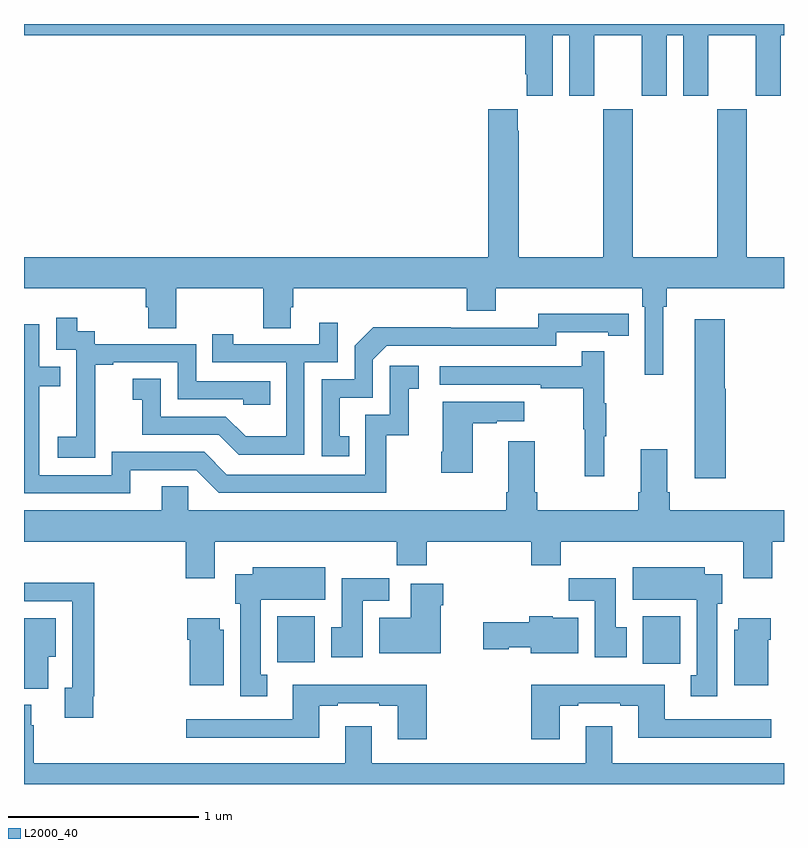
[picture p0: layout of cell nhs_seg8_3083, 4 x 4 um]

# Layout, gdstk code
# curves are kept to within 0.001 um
import gdstk
lib = gdstk.Library(unit=1e-6, precision=1e-09)
def R(c, l, rs):  # rectangles x0, y0, x1, y1
    for r in rs: c.add(gdstk.rectangle(r[:2], r[2:], *l))
def P(c, l, *ps):  # polygons
    for p in ps: c.add(gdstk.Polygon(p, *l))
L2000_40 = (2000, 40)

nhs_seg8_3083 = lib.new_cell('nhs_seg8_3083')
R(nhs_seg8_3083, L2000_40, [(306.257,1106.532,306.453,1106.782), (304.334,1106.54,304.531,1106.782)])
P(nhs_seg8_3083, L2000_40, [(305.782,1109.84),(305.87,1109.84),(305.87,1109.523),(306.001,1109.523),(306.001,1109.84),(306.251,1109.84),(306.251,1109.523),(306.382,1109.523),(306.382,1109.84),(306.47,1109.84),(306.47,1109.523),(306.601,1109.523),(306.601,1109.84),(306.851,1109.84),(306.851,1109.523),(306.982,1109.523),(306.982,1109.84),(307,1109.84),(307,1109.9),(303,1109.9),(303,1109.84),(305.639,1109.84),(305.639,1109.635),(305.645,1109.635),(305.645,1109.523),(305.782,1109.523)],
  [(306.364,1108.412),(306.383,1108.412),(306.383,1108.508),(307,1108.508),(307,1108.672),(306.804,1108.672),(306.804,1109.452),(306.649,1109.452),(306.649,1108.672),(306.204,1108.672),(306.204,1109.452),(306.049,1109.452),(306.049,1108.672),(305.604,1108.672),(305.604,1109.339),(305.599,1109.339),(305.599,1109.452),(305.444,1109.452),(305.444,1108.672),(303,1108.672),(303,1108.508),(303.641,1108.508),(303.641,1108.41),(303.653,1108.41),(303.653,1108.3),(303.801,1108.3),(303.801,1108.508),(304.258,1108.508),(304.258,1108.3),(304.405,1108.3),(304.405,1108.41),(304.418,1108.41),(304.418,1108.508),(305.33,1108.508),(305.33,1108.391),(305.482,1108.391),(305.482,1108.508),(306.254,1108.508),(306.254,1108.412),(306.267,1108.412),(306.267,1108.053),(306.364,1108.053)],
  [(304.712,1107.729),(304.663,1107.729),(304.663,1107.933),(304.836,1107.933),(304.836,1108.134),(304.908,1108.206),(305.802,1108.206),(305.802,1108.278),(306.074,1108.278),(306.074,1108.258),(306.182,1108.258),(306.182,1108.374),(305.706,1108.375),(305.706,1108.302),(305.246,1108.302),(305.246,1108.304),(304.838,1108.304),(304.74,1108.206),(304.74,1108.029),(304.566,1108.029),(304.566,1107.624),(304.712,1107.624)],
  [(303.375,1107.823),(303.374,1107.823),(303.374,1108.107),(303.469,1108.107),(303.469,1108.119),(303.81,1108.119),(303.81,1107.924),(304.155,1107.924),(304.155,1107.897),(304.295,1107.897),(304.295,1108.02),(303.906,1108.02),(303.906,1108.215),(303.372,1108.215),(303.372,1108.284),(303.28,1108.284),(303.28,1108.354),(303.171,1108.354),(303.171,1108.185),(303.276,1108.185),(303.276,1107.956),(303.275,1107.956),(303.275,1107.727),(303.177,1107.727),(303.177,1107.617),(303.375,1107.617)],
  [(306.694,1107.981),(306.689,1107.981),(306.689,1108.345),(306.53,1108.345),(306.53,1107.51),(306.694,1107.51)],
  [(304.476,1108.119),(304.65,1108.119),(304.65,1108.327),(304.553,1108.327),(304.553,1108.215),(304.102,1108.215),(304.102,1108.267),(303.991,1108.267),(303.991,1108.119),(304.38,1108.119),(304.38,1107.73),(304.166,1107.73),(304.062,1107.834),(303.72,1107.834),(303.72,1108.033),(303.573,1108.033),(303.573,1107.923),(303.622,1107.923),(303.622,1107.738),(304.025,1107.738),(304.13,1107.633),(304.476,1107.633)],
  [(303.559,1107.552),(303.906,1107.552),(304.026,1107.432),(304.906,1107.432),(304.906,1107.735),(305.024,1107.735),(305.024,1107.981),(305.077,1107.981),(305.077,1108.102),(304.926,1108.102),(304.926,1107.843),(304.797,1107.843),(304.797,1107.528),(304.068,1107.528),(303.948,1107.648),(303.462,1107.648),(303.462,1107.525),(303.081,1107.525),(303.081,1107.994),(303.191,1107.994),(303.191,1108.095),(303.081,1108.095),(303.081,1108.32),(303,1108.32),(303,1107.429),(303.559,1107.429)],
  [(306.053,1107.731),(306.064,1107.731),(306.064,1107.905),(306.053,1107.905),(306.053,1108.177),(305.935,1108.177),(305.935,1108.098),(305.187,1108.098),(305.187,1108.002),(305.719,1108.002),(305.719,1107.982),(305.943,1107.982),(305.943,1107.768),(305.95,1107.768),(305.95,1107.519),(306.053,1107.519)],
  [(305.362,1107.799),(305.489,1107.799),(305.489,1107.809),(305.632,1107.809),(305.632,1107.913),(305.204,1107.913),(305.204,1107.649),(305.197,1107.649),(305.197,1107.537),(305.362,1107.537)],
  [(304.003,1107.176),(304.963,1107.176),(304.963,1107.052),(305.12,1107.052),(305.12,1107.176),(305.669,1107.176),(305.669,1107.052),(305.825,1107.052),(305.825,1107.176),(306.785,1107.176),(306.785,1106.982),(306.938,1106.982),(306.938,1107.176),(307,1107.176),(307,1107.34),(306.398,1107.34),(306.398,1107.436),(306.385,1107.436),(306.385,1107.661),(306.245,1107.661),(306.245,1107.436),(306.233,1107.436),(306.233,1107.34),(305.702,1107.34),(305.702,1107.436),(305.689,1107.436),(305.689,1107.703),(305.549,1107.703),(305.549,1107.436),(305.537,1107.436),(305.537,1107.34),(303.864,1107.34),(303.864,1107.467),(303.725,1107.467),(303.725,1107.34),(303,1107.34),(303,1107.176),(303.851,1107.176),(303.851,1106.982),(304.003,1106.982)],
  [(306.649,1106.85),(306.676,1106.85),(306.676,1107.004),(306.583,1107.004),(306.583,1107.04),(306.203,1107.04),(306.203,1106.87),(306.542,1106.87),(306.542,1106.473),(306.509,1106.473),(306.509,1106.361),(306.649,1106.361)],
  [(304.279,1106.474),(304.246,1106.474),(304.246,1106.87),(304.585,1106.87),(304.585,1107.04),(304.205,1107.04),(304.205,1107.004),(304.112,1107.004),(304.112,1106.85),(304.139,1106.85),(304.139,1106.361),(304.279,1106.361)],
  [(306.172,1106.724),(306.115,1106.724),(306.115,1106.982),(305.866,1106.982),(305.866,1106.864),(306.005,1106.864),(306.005,1106.568),(306.172,1106.568)],
  [(304.783,1106.864),(304.922,1106.864),(304.922,1106.982),(304.673,1106.982),(304.673,1106.724),(304.616,1106.724),(304.616,1106.568),(304.783,1106.568)],
  [(303.364,1106.362),(303.371,1106.362),(303.371,1106.96),(303.079,1106.96),(303.079,1106.958),(303,1106.958),(303,1106.862),(303.255,1106.862),(303.255,1106.406),(303.215,1106.406),(303.215,1106.25),(303.364,1106.25)],
  [(305.194,1106.84),(305.207,1106.84),(305.207,1106.953),(305.036,1106.953),(305.036,1106.776),(304.871,1106.776),(304.871,1106.588),(305.194,1106.588)],
  [(305.917,1106.776),(305.784,1106.776),(305.784,1106.782),(305.659,1106.782),(305.659,1106.751),(305.418,1106.751),(305.418,1106.609),(305.55,1106.609),(305.55,1106.621),(305.666,1106.621),(305.666,1106.588),(305.917,1106.588)],
  [(304.051,1106.712),(304.03,1106.712),(304.03,1106.773),(303.86,1106.773),(303.86,1106.66),(303.872,1106.66),(303.872,1106.42),(304.051,1106.42)],
  [(303.127,1106.57),(303.166,1106.57),(303.166,1106.773),(303,1106.773),(303,1106.402),(303.127,1106.402)],
  [(306.916,1106.66),(306.929,1106.66),(306.929,1106.773),(306.758,1106.773),(306.758,1106.712),(306.737,1106.712),(306.737,1106.42),(306.916,1106.42)],
  [(305.821,1106.313),(305.917,1106.313),(305.917,1106.325),(306.137,1106.325),(306.137,1106.313),(306.233,1106.313),(306.233,1106.144),(306.934,1106.144),(306.934,1106.241),(306.373,1106.241),(306.373,1106.422),(305.669,1106.422),(305.669,1106.136),(305.821,1106.136)],
  [(305.12,1106.422),(304.415,1106.422),(304.415,1106.241),(303.855,1106.241),(303.855,1106.144),(304.555,1106.144),(304.555,1106.313),(304.651,1106.313),(304.651,1106.325),(304.871,1106.325),(304.871,1106.313),(304.967,1106.313),(304.967,1106.136),(305.12,1106.136)],
  [(307,1106.008),(306.097,1106.008),(306.097,1106.203),(305.957,1106.203),(305.957,1106.008),(304.831,1106.008),(304.831,1106.203),(304.691,1106.203),(304.691,1106.008),(303.05,1106.008),(303.05,1106.21),(303.037,1106.21),(303.037,1106.317),(303,1106.317),(303,1105.9),(307,1105.9)])

lib.write_gds('nhs_seg8_3083.gds')
